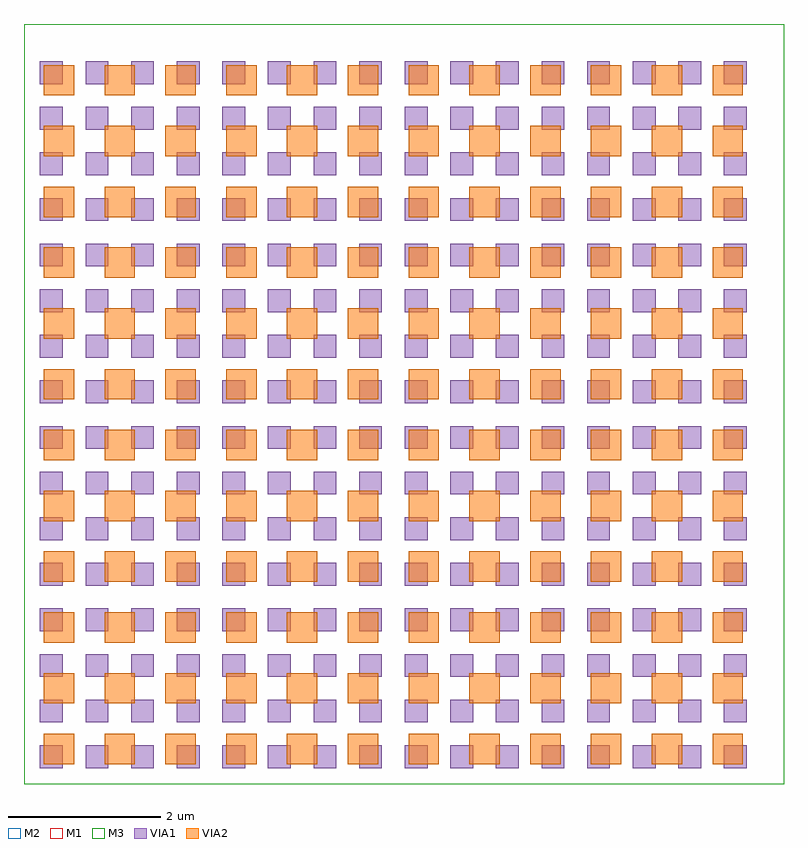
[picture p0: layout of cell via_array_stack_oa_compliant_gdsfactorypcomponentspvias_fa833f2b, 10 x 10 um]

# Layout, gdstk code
import gdstk
lib = gdstk.Library(unit=1e-6, precision=1e-09)
def R(c, l, rs):  # rectangles x0, y0, x1, y1
    for r in rs: c.add(gdstk.rectangle(r[:2], r[2:], *l))
def A(c, l, x, y, w, h, nx, ny, dx, dy):  # array of equal rectangles
    R(c, l, [(x+i*dx, y+j*dy, x+i*dx+w, y+j*dy+h) for i in range(nx) for j in range(ny)])
def P(c, l, *ps):  # polygons
    for p in ps: c.add(gdstk.Polygon(p, *l))
M1 = (41, 0)
VIA2 = (43, 0)
VIA1 = (44, 0)
M2 = (45, 0)
M3 = (49, 0)

via_array_region_raster_ = lib.new_cell('via_array_region_raster_gdsfactorypcomponentspviaspvia__a28ba3db')
P(via_array_region_raster_, M1, [(-5,-5),(-5,-5),(-5,5),(5,5),(5,-5)])
A(via_array_region_raster_, VIA1, -4.79, -4.79, 0.3, 0.3, 16, 16, 0.6, 0.6)
P(via_array_region_raster_, M2, [(-5,-5),(-5,-5),(-5,5),(5,5),(5,-5)])

c_via_array_region_raster_ = lib.new_cell('via_array_region_raster_gdsfactorypcomponentspviaspvia__74893484')
A(c_via_array_region_raster_, VIA2, -4.74, -4.74, 0.4, 0.4, 12, 12, 0.8, 0.8)
P(c_via_array_region_raster_, M2, [(-5,-5),(-5,-5),(-5,5),(5,5),(5,-5)])
P(c_via_array_region_raster_, M3, [(-5,-5),(-5,-5),(-5,5),(5,5),(5,-5)])

via_array_stack_oa_compl = lib.new_cell('via_array_stack_oa_compliant_gdsfactorypcomponentspvias_fa833f2b')
via_array_stack_oa_compl.add(gdstk.Reference(via_array_region_raster_, (0,0)))
via_array_stack_oa_compl.add(gdstk.Reference(c_via_array_region_raster_, (0,0)))

lib.write_gds('via_array_stack_oa_compliant_gdsfactorypcomponentspvias_fa833f2b.gds')
